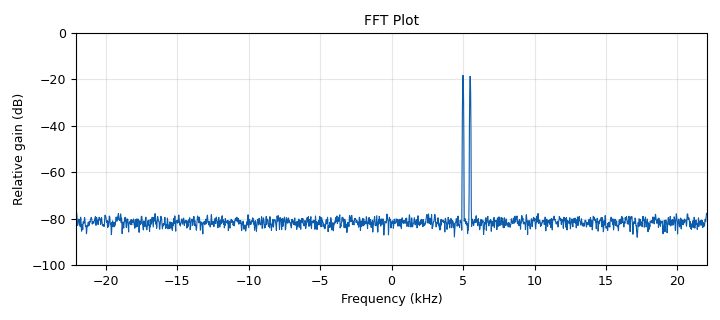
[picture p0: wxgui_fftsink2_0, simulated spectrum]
<?xml version='1.0' encoding='utf-8'?>
<?grc format='1' created='3.7.9'?>
<flow_graph>
<block>
<key>options</key>
<param><key>id</key><value>top_block</value></param>
<param><key>category</key><value>Custom</value></param>
<param><key>generate_options</key><value>wx_gui</value></param>
</block>
<block>
<key>variable_slider</key>
<param><key>id</key><value>Frequency</value></param>
<param><key>converver</key><value>int_converter</value></param>
<param><key>value</key><value>5000</value></param>
<param><key>label</key><value>Frequency</value></param>
<param><key>max</key><value>20000</value></param>
<param><key>min</key><value>10</value></param>
<param><key>num_steps</key><value>1000</value></param>
<param><key>style</key><value>wx.SL_HORIZONTAL</value></param>
</block>
<block>
<key>variable_slider</key>
<param><key>id</key><value>Frequency1</value></param>
<param><key>converver</key><value>int_converter</value></param>
<param><key>value</key><value>5500</value></param>
<param><key>label</key><value>Frequency1</value></param>
<param><key>max</key><value>20000</value></param>
<param><key>min</key><value>10</value></param>
<param><key>num_steps</key><value>1000</value></param>
<param><key>style</key><value>wx.SL_HORIZONTAL</value></param>
</block>
<block>
<key>variable_slider</key>
<param><key>id</key><value>Loudness</value></param>
<param><key>converver</key><value>float_converter</value></param>
<param><key>value</key><value>0.35</value></param>
<param><key>label</key><value>Loudness</value></param>
<param><key>max</key><value>1.0</value></param>
<param><key>min</key><value>0.0</value></param>
<param><key>num_steps</key><value>1000</value></param>
<param><key>style</key><value>wx.SL_HORIZONTAL</value></param>
</block>
<block>
<key>variable_slider</key>
<param><key>id</key><value>Loudness1</value></param>
<param><key>converver</key><value>float_converter</value></param>
<param><key>value</key><value>0.4</value></param>
<param><key>label</key><value>Loudness1</value></param>
<param><key>max</key><value>1.0</value></param>
<param><key>min</key><value>0.0</value></param>
<param><key>num_steps</key><value>1000</value></param>
<param><key>style</key><value>wx.SL_HORIZONTAL</value></param>
</block>
<block>
<key>variable_slider</key>
<param><key>id</key><value>Noise</value></param>
<param><key>converver</key><value>float_converter</value></param>
<param><key>value</key><value>0.01</value></param>
<param><key>label</key><value>Noise</value></param>
<param><key>max</key><value>1</value></param>
<param><key>min</key><value>0.0</value></param>
<param><key>num_steps</key><value>1000</value></param>
<param><key>style</key><value>wx.SL_HORIZONTAL</value></param>
</block>
<block>
<key>variable</key>
<param><key>id</key><value>samp_rate</value></param>
<param><key>value</key><value>44100</value></param>
</block>
<block>
<key>variable_function_probe</key>
<param><key>id</key><value>variable_function_probe_0</value></param>
<param><key>block_id</key><value>my_block_0</value></param>
<param><key>_enabled</key><value>0</value></param>
<param><key>function_name</key><value>level</value></param>
<param><key>poll_rate</key><value>10</value></param>
<param><key>value</key><value>0</value></param>
</block>
<block>
<key>analog_noise_source_x</key>
<param><key>id</key><value>analog_noise_source_x_0</value></param>
<param><key>amp</key><value>Noise</value></param>
<param><key>noise_type</key><value>analog.GR_GAUSSIAN</value></param>
<param><key>type</key><value>complex</value></param>
<param><key>seed</key><value>0</value></param>
</block>
<block>
<key>analog_sig_source_x</key>
<param><key>id</key><value>analog_sig_source_x_0</value></param>
<param><key>amp</key><value>Loudness</value></param>
<param><key>freq</key><value>Frequency</value></param>
<param><key>offset</key><value>0</value></param>
<param><key>type</key><value>complex</value></param>
<param><key>samp_rate</key><value>samp_rate</value></param>
<param><key>waveform</key><value>analog.GR_COS_WAVE</value></param>
</block>
<block>
<key>analog_sig_source_x</key>
<param><key>id</key><value>analog_sig_source_x_0_0</value></param>
<param><key>amp</key><value>Loudness</value></param>
<param><key>freq</key><value>Frequency1</value></param>
<param><key>offset</key><value>0</value></param>
<param><key>type</key><value>complex</value></param>
<param><key>samp_rate</key><value>samp_rate</value></param>
<param><key>waveform</key><value>analog.GR_COS_WAVE</value></param>
</block>
<block>
<key>analog_sig_source_x</key>
<param><key>id</key><value>analog_sig_source_x_0_1</value></param>
<param><key>amp</key><value>1</value></param>
<param><key>_enabled</key><value>0</value></param>
<param><key>freq</key><value>1</value></param>
<param><key>offset</key><value>0</value></param>
<param><key>type</key><value>complex</value></param>
<param><key>samp_rate</key><value>20</value></param>
<param><key>waveform</key><value>analog.GR_TRI_WAVE</value></param>
</block>
<block>
<key>audio_sink</key>
<param><key>id</key><value>audio_sink_0</value></param>
<param><key>samp_rate</key><value>samp_rate</value></param>
</block>
<block>
<key>blocks_add_xx</key>
<param><key>id</key><value>blocks_add_xx_0</value></param>
<param><key>type</key><value>complex</value></param>
<param><key>num_inputs</key><value>3</value></param>
</block>
<block>
<key>blocks_complex_to_real</key>
<param><key>id</key><value>blocks_complex_to_real_0</value></param>
</block>
<block>
<key>blocks_probe_signal_x</key>
<param><key>id</key><value>blocks_probe_signal_x_0</value></param>
<param><key>_enabled</key><value>0</value></param>
<param><key>type</key><value>complex</value></param>
</block>
<block>
<key>blocks_throttle</key>
<param><key>id</key><value>blocks_throttle_0</value></param>
<param><key>_enabled</key><value>0</value></param>
<param><key>samples_per_second</key><value>samp_rate</value></param>
<param><key>type</key><value>complex</value></param>
</block>
<block>
<key>wxgui_fftsink2</key>
<param><key>id</key><value>wxgui_fftsink2_0</value></param>
<param><key>avg_alpha</key><value>0.1</value></param>
<param><key>average</key><value>True</value></param>
<param><key>baseband_freq</key><value>0</value></param>
<param><key>fft_size</key><value>2048</value></param>
<param><key>freqvar</key><value>None</value></param>
<param><key>peak_hold</key><value>True</value></param>
<param><key>ref_level</key><value>0</value></param>
<param><key>ref_scale</key><value>4.0</value></param>
<param><key>fft_rate</key><value>15</value></param>
<param><key>samp_rate</key><value>samp_rate</value></param>
<param><key>title</key><value>FFT Plot</value></param>
<param><key>type</key><value>complex</value></param>
<param><key>win</key><value>None</value></param>
<param><key>y_divs</key><value>10</value></param>
<param><key>y_per_div</key><value>10</value></param>
</block>
<block>
<key>wxgui_waterfallsink2</key>
<param><key>id</key><value>wxgui_waterfallsink2_0</value></param>
<param><key>avg_alpha</key><value>0.1</value></param>
<param><key>average</key><value>False</value></param>
<param><key>baseband_freq</key><value>0</value></param>
<param><key>dynamic_range</key><value>100</value></param>
<param><key>_enabled</key><value>0</value></param>
<param><key>fft_rate</key><value>15</value></param>
<param><key>fft_size</key><value>2048</value></param>
<param><key>freqvar</key><value>Frequency</value></param>
<param><key>ref_scale</key><value>4.0</value></param>
<param><key>ref_level</key><value>0</value></param>
<param><key>samp_rate</key><value>samp_rate</value></param>
<param><key>title</key><value>Waterfall Plot</value></param>
<param><key>type</key><value>complex</value></param>
<param><key>win_size</key><value>900,200</value></param>
<param><key>win</key><value>None</value></param>
</block>
<connection><source_block_id>analog_noise_source_x_0</source_block_id><sink_block_id>blocks_add_xx_0</sink_block_id><source_key>0</source_key><sink_key>0</sink_key></connection>
<connection><source_block_id>analog_sig_source_x_0</source_block_id><sink_block_id>blocks_add_xx_0</sink_block_id><source_key>0</source_key><sink_key>1</sink_key></connection>
<connection><source_block_id>analog_sig_source_x_0_0</source_block_id><sink_block_id>blocks_add_xx_0</sink_block_id><source_key>0</source_key><sink_key>2</sink_key></connection>
<connection><source_block_id>analog_sig_source_x_0_1</source_block_id><sink_block_id>blocks_probe_signal_x_0</sink_block_id><source_key>0</source_key><sink_key>0</sink_key></connection>
<connection><source_block_id>analog_sig_source_x_0_1</source_block_id><sink_block_id>blocks_throttle_0</sink_block_id><source_key>0</source_key><sink_key>0</sink_key></connection>
<connection><source_block_id>blocks_add_xx_0</source_block_id><sink_block_id>blocks_complex_to_real_0</sink_block_id><source_key>0</source_key><sink_key>0</sink_key></connection>
<connection><source_block_id>blocks_add_xx_0</source_block_id><sink_block_id>wxgui_fftsink2_0</sink_block_id><source_key>0</source_key><sink_key>0</sink_key></connection>
<connection><source_block_id>blocks_complex_to_real_0</source_block_id><sink_block_id>audio_sink_0</sink_block_id><source_key>0</source_key><sink_key>0</sink_key></connection>
<connection><source_block_id>blocks_throttle_0</source_block_id><sink_block_id>wxgui_waterfallsink2_0</sink_block_id><source_key>0</source_key><sink_key>0</sink_key></connection>
</flow_graph>
